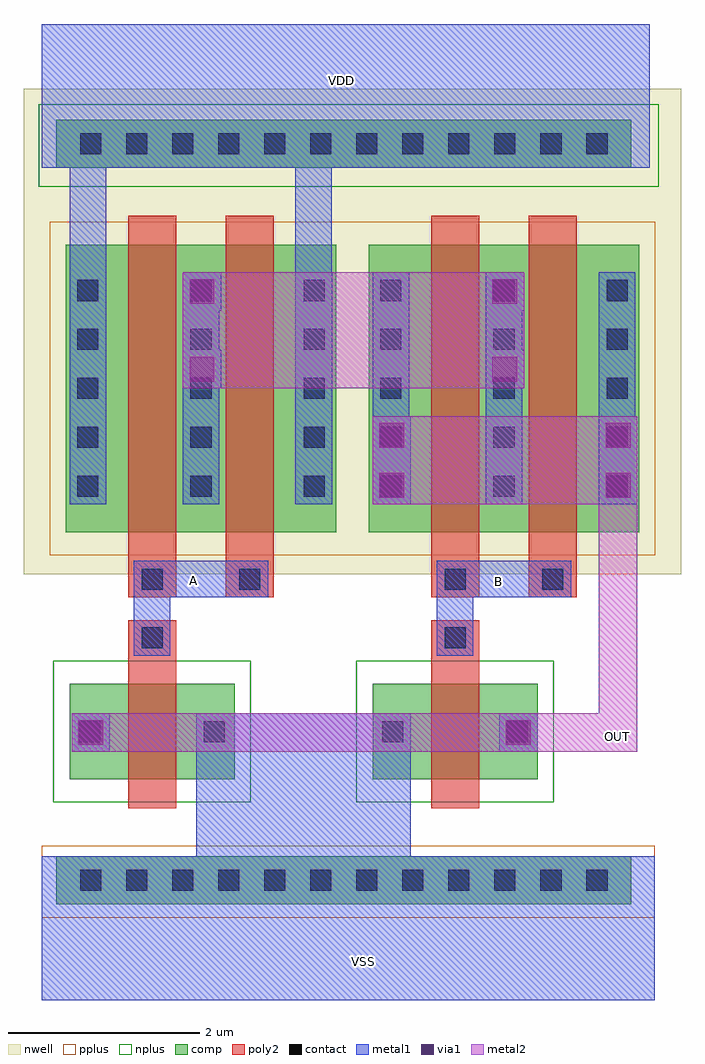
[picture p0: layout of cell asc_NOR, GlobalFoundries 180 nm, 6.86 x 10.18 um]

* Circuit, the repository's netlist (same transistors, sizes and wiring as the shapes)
** sch_path: /foss/designs/libs/core_analog/asc_NOR/asc_NOR.sch
.subckt asc_NOR VDD VSS OUT A B
*.PININFO VDD:B VSS:B B:B A:B OUT:B
M1 OUT A VSS VSS nfet_03v3 L=0.5u W=1u nf=1 m=1
M2 OUT B VSS VSS nfet_03v3 L=0.5u W=1u nf=1 m=1
M3 OUT B net1 VDD pfet_03v3 L=0.5u W=6u nf=2 m=1
M4 net1 A VDD VDD pfet_03v3 L=0.5u W=6u nf=2 m=1
.ends

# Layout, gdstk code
from math import pi, radians
import gdstk
lib = gdstk.Library(unit=1e-6, precision=5e-09)
def R(c, l, rs):  # rectangles x0, y0, x1, y1
    for r in rs: c.add(gdstk.rectangle(r[:2], r[2:], *l))
def A(c, l, x, y, w, h, nx, ny, dx, dy):  # array of equal rectangles
    R(c, l, [(x+i*dx, y+j*dy, x+i*dx+w, y+j*dy+h) for i in range(nx) for j in range(ny)])
nwell = (21, 0)
comp = (22, 0)
poly2 = (30, 0)
pplus = (31, 0)
nplus = (32, 0)
contact = (33, 0)
metal1 = (34, 0)
via1 = (35, 0)
metal2 = (36, 0)

via_dev = lib.new_cell('via_dev')
R(via_dev, metal1, [(0,0,0.4,0.4)])
R(via_dev, via1, [(0.07,0.07,0.33,0.33)])
R(via_dev, metal2, [(0,0,0.4,0.4)])

via_dev_3 = lib.new_cell('via_dev$3')
R(via_dev_3, metal1, [(0,0,0.4,0.4)])
R(via_dev_3, via1, [(0.07,0.07,0.33,0.33)])
R(via_dev_3, metal2, [(0,0,0.4,0.4)])

via_dev_1 = lib.new_cell('via_dev$1')
R(via_dev_1, comp, [(0,0,6,0.5)])
A(via_dev_1, contact, 0.25, 0.14, 0.22, 0.22, 12, 1, 0.48, 0)
R(via_dev_1, metal1, [(0,0,6,0.5)])

pfet_1 = lib.new_cell('pfet$1')
R(pfet_1, nwell, [(-0.9,-0.44,2.8,3.44)])
R(pfet_1, comp, [(-0.46,0,0,3), (0,0,1.9,3), (1.9,0,2.36,3)])
R(pfet_1, poly2, [(0.19,-0.68,0.69,-0.3), (1.21,-0.68,1.71,-0.3), (0.19,-0.3,0.69,3.3), (1.21,-0.3,1.71,3.3)])
R(pfet_1, pplus, [(-0.63,-0.24,2.53,3.24)])
A(pfet_1, contact, -0.34, 0.37, 0.22, 0.22, 3, 5, 1.18, 0.51)
R(pfet_1, contact, [(0.33,-0.6,0.55,-0.38), (1.35,-0.6,1.57,-0.38)])
A(pfet_1, metal1, -0.42, 0.29, 0.38, 2.42, 3, 1, 1.18, 0)
R(pfet_1, metal1, [(0.25,-0.68,0.63,-0.3), (1.27,-0.68,1.65,-0.3)])

nfet_1 = lib.new_cell('nfet$1')
R(nfet_1, comp, [(-0.42,0,0,1), (0,0,0.88,1), (0.88,0,1.3,1)])
R(nfet_1, poly2, [(0.19,-0.3,0.69,1.3), (0.19,1.3,0.69,1.66)])
R(nfet_1, nplus, [(-0.59,-0.24,1.47,1.24)])
R(nfet_1, contact, [(-0.32,0.39,-0.1,0.61), (0.98,0.39,1.2,0.61), (0.33,1.37,0.55,1.59)])
R(nfet_1, metal1, [(-0.4,0.31,-0.02,0.69), (0.9,0.31,1.28,0.69), (0.25,1.29,0.63,1.67)])

via_dev_2 = lib.new_cell('via_dev$2')

asc_nor = lib.new_cell('asc_NOR')
R(asc_nor, nwell, [(6.25,3.125,7.67,7.005), (3.57,7.005,10.43,8.19)])
R(asc_nor, nplus, [(3.725,7.165,10.195,8.03)])
R(asc_nor, metal1, [(3.76,-1.315,10.155,0.185), (3.76,-0.315,3.91,0.185), (9.91,-0.315,10.155,0.185), (5.37,0.185,7.61,1.675), (4.72,2.275,5.1,3.265), (7.88,2.275,8.26,3.265), (4.72,2.885,6.12,3.265), (7.88,2.885,9.28,3.265), (4.05,3.855,4.43,7.865), (6.405,3.855,6.785,7.865), (7.59,4.255,7.61,4.375), (9.95,4.255,9.97,4.375), (3.76,7.365,3.91,7.865), (3.76,7.365,10.1,8.865), (9.91,7.365,10.1,7.865)])
R(asc_nor, metal2, [(4.07,1.275,8.93,1.675), (8.53,1.275,9.97,1.675), (9.57,1.275,9.97,4.715), (7.21,3.855,9.97,4.775), (9.57,3.855,9.97,4.695), (5.23,5.065,5.63,6.275), (5.23,5.065,8.79,6.275), (8.39,5.065,8.79,6.275)])
asc_nor.add(gdstk.FlexPath([(3.76,-0.08),(10.155,-0.08)], 0.75, ends="flush", simple_path=True, layer=31, datatype=0))  # pplus
asc_nor.add(gdstk.Reference(via_dev, (8.39,5.875)))
asc_nor.add(gdstk.Reference(via_dev, (8.39,5.065)))
asc_nor.add(gdstk.Reference(via_dev_3, (4.07,1.275)))
asc_nor.add(gdstk.Reference(via_dev_3, (8.53,1.275)))
asc_nor.add(gdstk.Reference(via_dev_3, (5.23,5.875)))
asc_nor.add(gdstk.Reference(via_dev_1, (3.91,7.365)))
asc_nor.add(gdstk.Reference(via_dev_1, (3.91,-0.315)))
asc_nor.add(gdstk.Reference(pfet_1, (7.63,3.565)))
asc_nor.add(gdstk.Reference(via_dev_3, (5.23,5.065)))
asc_nor.add(gdstk.Reference(via_dev_3, (7.21,4.375)))
asc_nor.add(gdstk.Reference(via_dev_3, (7.21,3.855)))
asc_nor.add(gdstk.Reference(nfet_1, (4.47,0.985)))
asc_nor.add(gdstk.Reference(via_dev_2, (3.11,-0.905), rotation=pi/2))
asc_nor.add(gdstk.Reference(nfet_1, (7.63,0.985)))
asc_nor.add(gdstk.Reference(pfet_1, (4.47,3.565)))
asc_nor.add(gdstk.Reference(via_dev_3, (9.57,4.375)))
asc_nor.add(gdstk.Reference(via_dev_3, (9.57,3.855)))
asc_nor.add(gdstk.Label('VDD', (6.89,8.275), layer=34, texttype=10))
asc_nor.add(gdstk.Label('VSS', (7.115,-0.91), layer=34, texttype=10))
asc_nor.add(gdstk.Label('A', (5.34,3.06), layer=34, texttype=10))
asc_nor.add(gdstk.Label('B', (8.525,3.045), layer=34, texttype=10))
asc_nor.add(gdstk.Label('OUT', (9.765,1.43), layer=36, texttype=10))

lib.write_gds('asc_NOR.gds')
